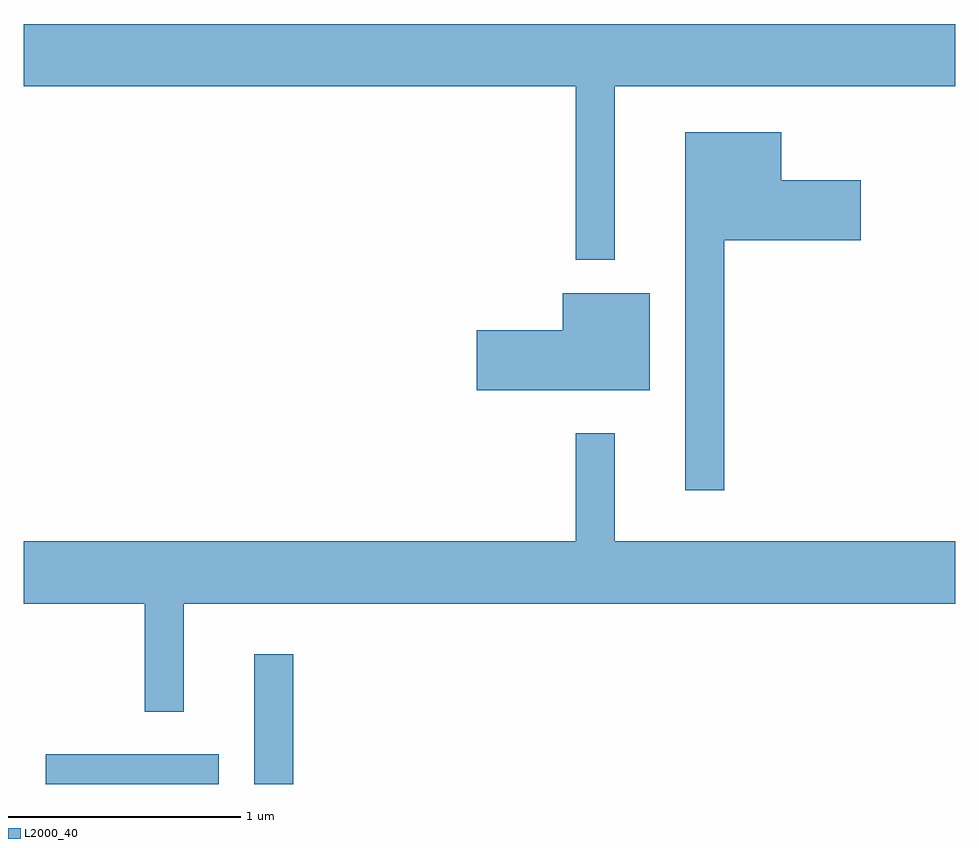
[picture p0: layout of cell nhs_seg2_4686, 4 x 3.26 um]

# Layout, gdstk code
import gdstk
lib = gdstk.Library(unit=1e-6, precision=1e-09)
def R(c, l, rs):  # rectangles x0, y0, x1, y1
    for r in rs: c.add(gdstk.rectangle(r[:2], r[2:], *l))
def P(c, l, *ps):  # polygons
    for p in ps: c.add(gdstk.Polygon(p, *l))
L2000_40 = (2000, 40)

nhs_seg2_4686 = lib.new_cell('nhs_seg2_4686')
R(nhs_seg2_4686, L2000_40, [(323.706,1009.802,324.449,1009.929), (324.601,1009.802,324.769,1010.358)])
P(nhs_seg2_4686, L2000_40, [(326.149,1012.796),(327.611,1012.796),(327.611,1013.064),(323.611,1013.064),(323.611,1012.796),(325.981,1012.796),(325.981,1012.053),(326.149,1012.053)],
  [(326.619,1012.136),(327.204,1012.136),(327.204,1012.394),(326.864,1012.394),(326.864,1012.599),(326.451,1012.599),(326.451,1011.063),(326.619,1011.063)],
  [(326.299,1011.909),(325.926,1011.909),(325.926,1011.749),(325.556,1011.749),(325.556,1011.491),(326.299,1011.491)],
  [(324.299,1010.576),(327.611,1010.576),(327.611,1010.844),(326.149,1010.844),(326.149,1011.308),(325.981,1011.308),(325.981,1010.844),(323.611,1010.844),(323.611,1010.576),(324.131,1010.576),(324.131,1010.113),(324.299,1010.113)])

lib.write_gds('nhs_seg2_4686.gds')
